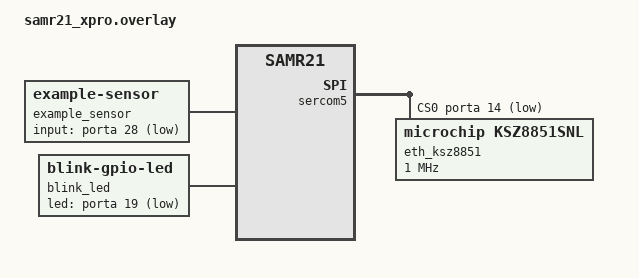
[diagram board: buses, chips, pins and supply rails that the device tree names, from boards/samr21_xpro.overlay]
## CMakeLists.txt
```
#-------------------------------------------------------------------------------
# Zephyr Example Application
#
# Copyright (c) 2021 Nordic Semiconductor ASA
# SPDX-License-Identifier: Apache-2.0

cmake_minimum_required(VERSION 3.13.1)

# This workspace does not assume a Zephyr SDK is installed. Default to the
# system arm-none-eabi toolchain (gnuarmemb) so the SAM D21/R21 boards build
# out of the box. Still overridable via -DZEPHYR_TOOLCHAIN_VARIANT=... or the
# environment.
if(NOT DEFINED ZEPHYR_TOOLCHAIN_VARIANT AND NOT DEFINED ENV{ZEPHYR_TOOLCHAIN_VARIANT})
  set(ZEPHYR_TOOLCHAIN_VARIANT gnuarmemb)
endif()

find_package(Zephyr REQUIRED HINTS $ENV{ZEPHYR_BASE})

project(gateway LANGUAGES C)

target_sources(app PRIVATE src/main.c)

# The code below locates the git index file for this repository and adds it as a dependency for
# the application VERSION file so that if the repo has a new commit added, even if no files in
# the build have changed, the application version file will be regenerated with the new git commit
find_package(Git QUIET)
if(GIT_FOUND)
  execute_process(
    COMMAND ${GIT_EXECUTABLE} rev-parse --absolute-git-dir
    WORKING_DIRECTORY .
    OUTPUT_VARIABLE application_git_dir
    OUTPUT_STRIP_TRAILING_WHITESPACE
    ERROR_STRIP_TRAILING_WHITESPACE
    ERROR_VARIABLE stderr
    RESULT_VARIABLE return_code
  )
  # If there is an error e.g. it is not a git repo, we just silently ignore it and continue
  # without a dependency, this will be the case with freestanding applications.
  if(NOT return_code)
    if(NOT "${stderr}" STREQUAL "")
      message(WARNING "Application build version git rev-parse warned: ${stderr}")
    endif()

    set_property(TARGET app_version_h PROPERTY APP_VERSION_DEPENDS ${application_git_dir}/index)
  endif()
endif()
```

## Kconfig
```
# Copyright (c) 2021 Nordic Semiconductor ASA
# SPDX-License-Identifier: Apache-2.0
#
# This file is the application Kconfig entry point. All application Kconfig
# options can be defined here or included via other application Kconfig files.
# You can browse these options using the west targets menuconfig (terminal) or
# guiconfig (GUI).

menu "Zephyr"
source "Kconfig.zephyr"
endmenu

module = GATEWAY
module-str = GATEWAY
source "subsys/logging/Kconfig.template.log_config"
```

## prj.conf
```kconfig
# Copyright (c) 2026
# SPDX-License-Identifier: Apache-2.0
#
# Gateway bring-up image for the SAM R21 Xplained Pro (samr21_xpro only).
# Normal 802.15.4 L2 with a radio-bound raw packet socket for TX and RX.
# Promiscuous mode is enabled so any on-channel frame is accepted; frames
# carrying the 18-byte sensor payload are printed to the console.

CONFIG_NETWORKING=y
CONFIG_IEEE802154=y
CONFIG_IEEE802154_RAW_MODE=n
CONFIG_NET_L2_IEEE802154=y
CONFIG_NET_SOCKETS=y
CONFIG_NET_SOCKETS_PACKET=y
CONFIG_IEEE802154_NET_IF_NO_AUTO_START=y
# Codec consumes complete MAC frames without the hardware-generated FCS.
CONFIG_IEEE802154_L2_PKT_INCL_FCS=n
# Decode/print now runs in an application thread, not the driver RX thread.
CONFIG_IEEE802154_RF2XX_RX_STACK_SIZE=2048
CONFIG_NET_PKT_TX_COUNT=2
CONFIG_NET_PKT_RX_COUNT=8
# Eight 256-byte fragments can hold a full Ethernet frame alongside radio traffic.
CONFIG_NET_BUF_RX_COUNT=8
CONFIG_NET_BUF_TX_COUNT=8
CONFIG_NET_BUF_DATA_SIZE=256
CONFIG_SPI=y
CONFIG_NET_L2_ETHERNET=y
CONFIG_ETH_DRIVER=y
CONFIG_ETHERNET_LOG_LEVEL_INF=y
CONFIG_NET_MGMT_EVENT=y
CONFIG_NET_MGMT_EVENT_SYSTEM_WORKQUEUE=y
CONFIG_NET_IPV4=y
# Radio and Ethernet each need an IPv4 configuration slot.
CONFIG_NET_IF_MAX_IPV4_COUNT=2
CONFIG_NET_DHCPV4=y
CONFIG_NET_IPV4_MAX_ROUTES=2
CONFIG_NET_MAX_CONTEXTS=3
CONFIG_NET_IPV6=n
CONFIG_RADIO=y
CONFIG_GATEWAY_MEMORY=y
CONFIG_GATEWAY_JSON=y
CONFIG_LOG=y
CONFIG_LOG_BUFFER_SIZE=512
# Main also runs device/network initialization and deferred-log packaging.
CONFIG_ISR_STACK_SIZE=1024
CONFIG_MAIN_STACK_SIZE=2048
CONFIG_INIT_STACKS=y
CONFIG_THREAD_STACK_INFO=y
CONFIG_STACK_SENTINEL=y
# rf2xx CSMA backoff needs rand; no TRNG driver on this board, use test RNG
CONFIG_TEST_RANDOM_GENERATOR=y
```

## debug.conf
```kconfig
# Copyright (c) 2021 Nordic Semiconductor ASA
# SPDX-License-Identifier: Apache-2.0
#
# This is a Kconfig fragment which can be used to enable debug-related options
# in the application. See the README for more details.

# compiler
CONFIG_DEBUG_OPTIMIZATIONS=y

# logging
CONFIG_LOG=y
CONFIG_GATEWAY_LOG_LEVEL_DBG=y
```

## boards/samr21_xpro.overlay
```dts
/*
 * Copyright (c) 2021 Nordic Semiconductor ASA
 * SPDX-License-Identifier: Apache-2.0
 */

/* PA28 is free again: the Ethernet board is on EXT3, which has no reset line. */

 / {
 	example_sensor: example-sensor {
 		compatible = "zephyr,example-sensor";
 		input-gpios = <&porta 28 (GPIO_PULL_UP | GPIO_ACTIVE_LOW)>;
 	};

	blink_led: blink-led {
		compatible = "blink-gpio-led";
		led-gpios = <&porta 19 GPIO_ACTIVE_LOW>;
		blink-period-ms = <1000>;
	};
};

/* Ethernet1 on EXT3: SPI data/clock shared with EXT1, but CS is PA14 and
 * EXT3 has no IRQ or reset lines. The driver polls without an interrupt
 * and relies on power-on reset when reset-gpios is absent. */
&sercom5 {
	status = "okay";
	compatible = "atmel,sam0-spi";
	#address-cells = <1>;
	#size-cells = <0>;

	cs-gpios = <&porta 14 GPIO_ACTIVE_LOW>;

	eth_ksz8851: ethernet@0 {
		compatible = "microchip,ksz8851snl";
		reg = <0>;
		spi-max-frequency = <1000000>;
		local-mac-address = [02 04 A3 12 34 56];
		status = "okay";
	};
};
```

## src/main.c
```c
/*
 * Copyright (c) 2026
 * SPDX-License-Identifier: Apache-2.0
 *
 * Gateway bring-up image for samr21_xpro.
 *
 * Raw-socket 802.15.4 receiver: the radio is brought up promiscuous on
 * channel 15 with our PAN ID (0xCAFE) set in the hardware filter. Frames whose
 * MAC payload is
 * exactly the 18-byte sensor payload decode via sensor_frame_decode() and
 * are printed to the console; anything else is just counted.
 */

#include <zephyr/kernel.h>
#include <zephyr/device.h>
#include <zephyr/init.h>
#include <zephyr/logging/log.h>

#include <zephyr/net/net_if.h>
#include <zephyr/net/ieee802154_radio.h>
#include <zephyr/net/ieee802154.h>
#include <zephyr/net/ieee802154_mgmt.h>
#include <zephyr/net/ethernet_mgmt.h>
#include <zephyr/net/net_mgmt.h>
#include <zephyr/net/dhcpv4.h>
#include <zephyr/sys/atomic.h>
#include "radio_socket.h"

#include <app/lib/sensor_frame.h>
#include <app/gateway/memory_table.h>
#include <app/gateway/sensors_json.h>
#include <app/gateway/sensors_response.h>

#include <zephyr/app_version.h>

LOG_MODULE_REGISTER(gateway, CONFIG_GATEWAY_LOG_LEVEL);

#define GW_CHANNEL 15
#define GW_PAN_ID  0xCAFE

static const struct device *const radio =
	DEVICE_DT_GET(DT_CHOSEN(zephyr_ieee802154));

static struct gateway_memory gateway_memory;
static atomic_t rx_ok;
static atomic_t rx_other;
static struct radio_socket radio_sock = { .fd = -1 };
static K_SEM_DEFINE(rx_ready, 0, 1);

/* Ethernet link monitor: logs carrier up/down and current IPv4 address. */
static void eth_event_handler(struct net_mgmt_event_callback *cb,
			      uint64_t event, struct net_if *iface)
{
	char addr[NET_IPV4_ADDR_LEN];
	ARG_UNUSED(cb);
	if (net_if_l2(iface) != &NET_L2_GET_NAME(ETHERNET)) {
		return;
	}
	if (event == NET_EVENT_ETHERNET_CARRIER_ON) {
		LOG_INF("eth: carrier on");
	} else if (event == NET_EVENT_ETHERNET_CARRIER_OFF) {
		LOG_WRN("eth: carrier off");
	} else if (event == NET_EVENT_IPV4_ADDR_ADD) {
		struct net_in_addr *ip = net_if_ipv4_get_global_addr(iface,
								 NET_ADDR_PREFERRED);

		if (ip != NULL && net_addr_ntop(AF_INET, ip, addr, sizeof(addr)) != NULL) {
			LOG_INF("eth: ipv4 %s", addr);
		}
	}
}

static struct net_mgmt_event_callback eth_cb;
static struct net_if *eth_iface;

/* Run after device/network initialization and before the application threads. */
static int eth_setup(void)
{
	net_mgmt_init_event_callback(&eth_cb, eth_event_handler,
				     NET_EVENT_ETHERNET_CARRIER_ON |
				     NET_EVENT_ETHERNET_CARRIER_OFF |
				     NET_EVENT_IPV4_ADDR_ADD);
	net_mgmt_add_event_callback(&eth_cb);
	eth_iface = net_if_get_first_by_type(&NET_L2_GET_NAME(ETHERNET));
	if (eth_iface == NULL) {
		LOG_WRN("eth: no ethernet interface, monitor idle");
		return -ENODEV;
	}
	if (!device_is_ready(net_if_get_device(eth_iface))) {
		LOG_ERR("eth: controller initialization failed");
		eth_iface = NULL;
		return -ENODEV;
	}
	if (!net_if_is_admin_up(eth_iface)) {
		int ret = net_if_up(eth_iface);

		if (ret < 0) {
			LOG_ERR("eth: net_if_up failed (%d)", ret);
			eth_iface = NULL;
			return ret;
		}
	}
	net_dhcpv4_start(eth_iface);
	LOG_INF("eth: monitor up, carrier=%s admin=%s",
		net_if_is_carrier_ok(eth_iface) ? "ok" : "down",
		net_if_is_admin_up(eth_iface) ? "up" : "down");
	return 0;
}

SYS_INIT(eth_setup, APPLICATION, CONFIG_APPLICATION_INIT_PRIORITY);

static K_MUTEX_DEFINE(gateway_memory_lock);

int gateway_sensors_json_response(char *output, size_t capacity)
{
	return gateway_sensors_json_encode(&gateway_memory, &gateway_memory_lock,
					   output, capacity);
}

/* Runs in the RX thread; console output uses a copy outside the table lock. */
static void handle_sensor_reading(const struct sensor_reading *r)
{
	struct gateway_memory_entry entry;
	int ret;
	int get_ret;

	k_mutex_lock(&gateway_memory_lock, K_FOREVER);
	ret = gateway_memory_update(&gateway_memory, r, k_uptime_get_32());
	get_ret = gateway_memory_get(&gateway_memory, r->node_id, &entry);
	k_mutex_unlock(&gateway_memory_lock);

	if (ret < 0) {
		LOG_WRN("Memory update for node %u failed (%d)", r->node_id, ret);
	}
	if (get_ret == 0) {
		printk("memory node=%u seq=%u received_at=%u ms\n",
		       entry.reading.node_id, entry.reading.seq,
		       entry.received_at_ms);
	}

	printk("rx node=%u seq=%u light=%u temp_c_x100=%d "
	       "accel=%d,%d,%d uptime=%u flags=%u\n",
	       r->node_id, r->seq, r->light, r->temp_c_x100,
	       r->accel[0], r->accel[1], r->accel[2],
	       r->uptime_ms, r->flags);
}

/*
 * Socket copies the complete frame (including MAC header) out of all packet
 * fragments. Decode/print cannot block the radio driver's RX thread.
 */
static void receive_frames(void *p1, void *p2, void *p3)
{
	struct sensor_reading r;
	uint8_t psdu[RADIO_SOCKET_FRAME_MAX];

	ARG_UNUSED(p1);
	ARG_UNUSED(p2);
	ARG_UNUSED(p3);
	k_sem_take(&rx_ready, K_FOREVER);
	while (true) {
		int len = radio_socket_recv(&radio_sock, psdu, sizeof(psdu), 0);

		if (len < 0 && len != -EMSGSIZE) {
			LOG_ERR("Raw socket receive failed (%d)", len);
			k_sleep(K_MSEC(100));
			continue;
		}
		if (len >= 0 && sensor_frame_decode(psdu, len, &r) == 0) {
			atomic_inc(&rx_ok);
			handle_sensor_reading(&r);
		} else {
			atomic_inc(&rx_other);
		}
	}
}

K_THREAD_DEFINE(radio_rx_id, 2048, receive_frames, NULL, NULL, NULL, 5, 0, 0);

static void gateway_run(void *p1, void *p2, void *p3)
{
	const struct ieee802154_radio_api *api;
	struct net_if *iface;
	uint16_t channel = GW_CHANNEL;
	int ret;

	ARG_UNUSED(p1);
	ARG_UNUSED(p2);
	ARG_UNUSED(p3);

	printk("Gateway %s (samr21_xpro, ch %d, pan 0x%04x, promiscuous)\n",
	       APP_VERSION_STRING, GW_CHANNEL, GW_PAN_ID);

	if (!device_is_ready(radio)) {
		LOG_ERR("Radio not ready");
		return;
	}

	api = (const struct ieee802154_radio_api *)radio->api;
	iface = net_if_lookup_by_dev(radio);
	ret = radio_socket_open(&radio_sock, iface);
	if (ret < 0) {
		LOG_ERR("Raw socket open failed (%d)", ret);
		return;
	}
	/* Set both L2 state and hardware: L2 refuses to start without a channel. */
	ret = net_mgmt(NET_REQUEST_IEEE802154_SET_CHANNEL, iface, &channel, sizeof(channel));
	if (ret < 0) {
		LOG_ERR("set_channel(%d) failed (%d)", GW_CHANNEL, ret);
		radio_socket_close(&radio_sock);
		return;
	}

	/* Our PAN ID, in the hardware filter. Promiscuous mode below accepts
	 * everything regardless for now; the ID is set so the filter is ready
	 * when we stop being promiscuous.
	 */
	{
		struct ieee802154_filter f = { .pan_id = GW_PAN_ID };

		ret = api->filter(radio, true, IEEE802154_FILTER_TYPE_PAN_ID, &f);
		if (ret < 0) {
			LOG_WRN("PAN ID filter refused (%d), continuing", ret);
		}
	}

	/* Promiscuous for now: accept any on-channel frame. */
	{
		struct ieee802154_config cfg = { .promiscuous = true };

		ret = api->configure(radio, IEEE802154_CONFIG_PROMISCUOUS, &cfg);
		if (ret < 0) {
			LOG_WRN("Promiscuous mode refused (%d), using default filter",
				ret);
		}
	}

	ret = net_if_up(iface);
	if (ret < 0) {
		LOG_ERR("Radio interface up failed (%d)", ret);
		radio_socket_close(&radio_sock);
		return;
	}
	k_sem_give(&rx_ready);

	LOG_INF("Listening promiscuous on ch %d, PAN ID 0x%04x set", GW_CHANNEL, GW_PAN_ID);

	unsigned int ticks = 0;

	while (1) {
		struct gateway_memory_stats stats;

		k_sleep(K_MSEC(5000));
		ticks++;
		k_mutex_lock(&gateway_memory_lock, K_FOREVER);
		gateway_memory_get_stats(&gateway_memory, k_uptime_get_32(),
					 CONFIG_GATEWAY_NODE_ONLINE_TIMEOUT_MS, &stats);
		k_mutex_unlock(&gateway_memory_lock);

		LOG_INF("gw ok=%u other=%u stored=%u active=%u",
			(unsigned int)atomic_get(&rx_ok),
			(unsigned int)atomic_get(&rx_other),
			(unsigned int)stats.valid_nodes, (unsigned int)stats.online_nodes);
		if (eth_iface != NULL && (ticks % 2) == 0) {
			LOG_INF("eth: carrier=%s admin=%s",
				net_if_is_carrier_ok(eth_iface) ? "ok" : "down",
				net_if_is_admin_up(eth_iface) ? "up" : "down");
		}
	}

}

K_THREAD_DEFINE(gateway_id, 1024, gateway_run, NULL, NULL, NULL, 0, 0, 0);

int main(void)
{
	/* Gateway threads start automatically; other services can start here. */
	return 0;
}
```
